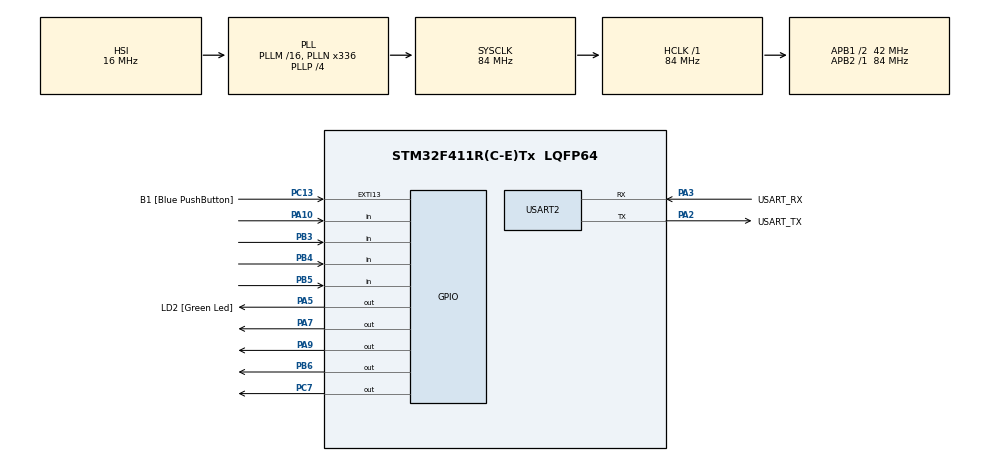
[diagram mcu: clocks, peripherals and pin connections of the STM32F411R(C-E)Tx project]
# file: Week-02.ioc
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Mcu.Family=STM32F4
Mcu.Name=STM32F411R(C-E)Tx
Mcu.Package=LQFP64
NVIC.PriorityGroup=NVIC_PRIORITYGROUP_0
PA10.GPIO_PuPd=GPIO_PULLUP
PA10.Signal=GPIO_Input
PA13.GPIO_Label=TMS
PA13.Mode=Serial_Wire
PA13.Signal=SYS_JTMS-SWDIO
PA14.GPIO_Label=TCK
PA14.Mode=Serial_Wire
PA14.Signal=SYS_JTCK-SWCLK
PA2.GPIO_Label=USART_TX
PA2.Mode=Asynchronous
PA2.Signal=USART2_TX
PA3.GPIO_Label=USART_RX
PA3.Mode=Asynchronous
PA3.Signal=USART2_RX
PA5.GPIO_Label=LD2 [Green Led]
PA5.Signal=GPIO_Output
PA7.GPIO_ModeDefaultOutputPP=GPIO_MODE_OUTPUT_OD
PA7.PinState=GPIO_PIN_SET
PA7.Signal=GPIO_Output
PA9.GPIO_ModeDefaultOutputPP=GPIO_MODE_OUTPUT_OD
PA9.PinState=GPIO_PIN_SET
PA9.Signal=GPIO_Output
PB3.GPIO_PuPd=GPIO_PULLUP
PB3.Signal=GPIO_Input
PB4.GPIO_PuPd=GPIO_PULLUP
PB4.Signal=GPIO_Input
PB5.GPIO_PuPd=GPIO_PULLUP
PB5.Signal=GPIO_Input
PB6.GPIO_ModeDefaultOutputPP=GPIO_MODE_OUTPUT_OD
PB6.PinState=GPIO_PIN_SET
PB6.Signal=GPIO_Output
PC13-ANTI_TAMP.GPIO_Label=B1 [Blue PushButton]
PC13-ANTI_TAMP.GPIO_ModeDefaultEXTI=GPIO_MODE_IT_FALLING
PC13-ANTI_TAMP.Signal=GPXTI13
PC14-OSC32_IN.Mode=LSE-External-Oscillator
PC14-OSC32_IN.Signal=RCC_OSC32_IN
PC15-OSC32_OUT.Mode=LSE-External-Oscillator
PC15-OSC32_OUT.Signal=RCC_OSC32_OUT
PC7.GPIO_ModeDefaultOutputPP=GPIO_MODE_OUTPUT_OD
PC7.PinState=GPIO_PIN_SET
PC7.Signal=GPIO_Output
PH0\ -\ OSC_IN.Mode=HSE-External-Clock-Source
PH0\ -\ OSC_IN.Signal=RCC_OSC_IN
PH1\ -\ OSC_OUT.Mode=HSE-External-Clock-Source
PH1\ -\ OSC_OUT.Signal=RCC_OSC_OUT
ProjectManager.HeapSize=0x200
ProjectManager.StackSize=0x400
ProjectManager.TargetToolchain=STM32CubeIDE
RCC.48MHZClocksFreq_Value=84000000
RCC.AHBFreq_Value=84000000
RCC.APB1CLKDivider=RCC_HCLK_DIV2
RCC.APB1Freq_Value=42000000
RCC.APB1TimFreq_Value=84000000
RCC.APB2Freq_Value=84000000
RCC.APB2TimFreq_Value=84000000
RCC.CortexFreq_Value=84000000
RCC.FLatency-AdvancedSettings=FLASH_LATENCY_2
RCC.HCLKFreq_Value=84000000
RCC.HSE_VALUE=8000000
RCC.HSI_VALUE=16000000
RCC.PLLN=336
RCC.PLLP=RCC_PLLP_DIV4
RCC.SYSCLKFreq_VALUE=84000000
RCC.SYSCLKSource=RCC_SYSCLKSOURCE_PLLCLK
RCC.VCOOutputFreq_Value=336000000
USART2.VirtualMode=VM_ASYNC
board=NUCLEO-F411RE

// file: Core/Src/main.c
 /* USER CODE BEGIN Header */
/**
  ******************************************************************************
  * @file           : main.c
  * @brief          : Main program body
  ******************************************************************************
  * @attention
  *
  * <h2><center>&copy; Copyright (c) 2021 STMicroelectronics.
  * All rights reserved.</center></h2>
  *
  * This software component is licensed by ST under BSD 3-Clause license,
  * the "License"; You may not use this file except in compliance with the
  * License. You may obtain a copy of the License at:
  *                        opensource.org/licenses/BSD-3-Clause
  *
  ******************************************************************************
  */
/* USER CODE END Header */
#include "main.h"

UART_HandleTypeDef huart2;

/* USER CODE BEGIN PV */
uint16_t ButtonMstate = 0;//-------------++++++++++++
uint16_t ButtonMstatePast = 0;
uint16_t ButtonMstateSeen = 0;
uint16_t PassWord[11] = {10,10,10,10,10,10,10,10,10,10,10};
uint16_t MyPassWord[11] = {6,2,3,4,0,5,0,0,0,0,6};
uint32_t Timestamp = 0;
GPIO_TypeDef *ButtomMPort[8] = {GPIOA,GPIOB,GPIOB,GPIOB,GPIOA,GPIOC,GPIOB,GPIOA};
uint16_t ButtomM[8] = {GPIO_PIN_10,GPIO_PIN_3,GPIO_PIN_5,GPIO_PIN_4,GPIO_PIN_9,GPIO_PIN_7,GPIO_PIN_6,GPIO_PIN_7};
uint8_t ButtomLine = 0; //r
uint8_t f = 0;
uint8_t t = 0;
uint8_t p = 0;
int test=0;

/* USER CODE END PV */

void SystemClock_Config(void);
static void MX_GPIO_Init(void);
static void MX_USART2_UART_Init(void);
/* USER CODE BEGIN PFP */
void buttomUpdata(void);//---------++++++++++
void check(void);

/* USER CODE END PFP */

int main(void)
{
  /* USER CODE BEGIN 1 */
	if(f==0){
		f=1;
		HAL_GPIO_WritePin(ButtomMPort[4], ButtomM[4], GPIO_PIN_RESET);
	}

  /* USER CODE END 1 */

  /* MCU Configuration--------------------------------------------------------*/

  /* Reset of all peripherals, Initializes the Flash interface and the Systick. */
  HAL_Init();

  /* Configure the system clock */
  SystemClock_Config();

  /* Initialize all configured peripherals */
  MX_GPIO_Init();
  MX_USART2_UART_Init();

  /* Infinite loop */
  /* USER CODE BEGIN WHILE */
  while (1)
  {
	buttomUpdata();
	if(ButtonMstateSeen == 0b0000000000000001){//0
		PassWord[p] = 0; p++;
	}
	else if(ButtonMstateSeen == 0b0000000000001000){//ok
		check();
		for(int o = 0;o<12;o++) PassWord[o]=0; p=0;
	}
	else if(ButtonMstateSeen == 0b0000000000010000){//1
		PassWord[p] = 1; p++;
		}
	else if(ButtonMstateSeen == 0b0000000000100000){//2
		PassWord[p] = 2; p++;
		}
	else if(ButtonMstateSeen == 0b0000000001000000){//3
		PassWord[p] = 3; p++;
		}
	else if(ButtonMstateSeen == 0b0000000100000000){//4
		PassWord[p] = 4; p++;
		}
	else if(ButtonMstateSeen == 0b0000001000000000){//5
		PassWord[p] = 5; p++;
		}
	else if(ButtonMstateSeen == 0b0000010000000000){//6
		PassWord[p] = 6; p++;
		}
	else if(ButtonMstateSeen == 0b0001000000000000){//7
		PassWord[p] = 7; p++;
		}
	else if(ButtonMstateSeen == 0b0010000000000000){//8
		PassWord[p] = 8; p++;
		}
	else if(ButtonMstateSeen == 0b0100000000000000){//9
		PassWord[p] = 9; p++;
		}
	else if(ButtonMstateSeen == 0b1000000000000000){//clear
		for(int o = 0;o<12;o++) PassWord[o]=0; p=0;test = 0; HAL_GPIO_WritePin(LD2_GPIO_Port, LD2_Pin, RESET);
		}
	ButtonMstateSeen = 0;

    /* USER CODE END WHILE */

  }
}

void SystemClock_Config(void)
{
  RCC_OscInitTypeDef RCC_OscInitStruct = {0};
  RCC_ClkInitTypeDef RCC_ClkInitStruct = {0};

  /** Configure the main internal regulator output voltage
  */
  __HAL_RCC_PWR_CLK_ENABLE();
  __HAL_PWR_VOLTAGESCALING_CONFIG(PWR_REGULATOR_VOLTAGE_SCALE1);
  /** Initializes the RCC Oscillators according to the specified parameters
  * in the RCC_OscInitTypeDef structure.
  */
  RCC_OscInitStruct.OscillatorType = RCC_OSCILLATORTYPE_HSI;
  RCC_OscInitStruct.HSIState = RCC_HSI_ON;
  RCC_OscInitStruct.HSICalibrationValue = RCC_HSICALIBRATION_DEFAULT;
  RCC_OscInitStruct.PLL.PLLState = RCC_PLL_ON;
  RCC_OscInitStruct.PLL.PLLSource = RCC_PLLSOURCE_HSI;
  RCC_OscInitStruct.PLL.PLLM = 16;
  RCC_OscInitStruct.PLL.PLLN = 336;
  RCC_OscInitStruct.PLL.PLLP = RCC_PLLP_DIV4;
  RCC_OscInitStruct.PLL.PLLQ = 4;
  if (HAL_RCC_OscConfig(&RCC_OscInitStruct) != HAL_OK)
  {
    Error_Handler();
  }
  /** Initializes the CPU, AHB and APB buses clocks
  */
  RCC_ClkInitStruct.ClockType = RCC_CLOCKTYPE_HCLK|RCC_CLOCKTYPE_SYSCLK
                              |RCC_CLOCKTYPE_PCLK1|RCC_CLOCKTYPE_PCLK2;
  RCC_ClkInitStruct.SYSCLKSource = RCC_SYSCLKSOURCE_PLLCLK;
  RCC_ClkInitStruct.AHBCLKDivider = RCC_SYSCLK_DIV1;
  RCC_ClkInitStruct.APB1CLKDivider = RCC_HCLK_DIV2;
  RCC_ClkInitStruct.APB2CLKDivider = RCC_HCLK_DIV1;

  if (HAL_RCC_ClockConfig(&RCC_ClkInitStruct, FLASH_LATENCY_2) != HAL_OK)
  {
    Error_Handler();
  }
}

static void MX_USART2_UART_Init(void)
{

  huart2.Instance = USART2;
  huart2.Init.BaudRate = 115200;
  huart2.Init.WordLength = UART_WORDLENGTH_8B;
  huart2.Init.StopBits = UART_STOPBITS_1;
  huart2.Init.Parity = UART_PARITY_NONE;
  huart2.Init.Mode = UART_MODE_TX_RX;
  huart2.Init.HwFlowCtl = UART_HWCONTROL_NONE;
  huart2.Init.OverSampling = UART_OVERSAMPLING_16;
  if (HAL_UART_Init(&huart2) != HAL_OK)
  {
    Error_Handler();
  }

}

static void MX_GPIO_Init(void)
{
  GPIO_InitTypeDef GPIO_InitStruct = {0};

  /* GPIO Ports Clock Enable */
  __HAL_RCC_GPIOC_CLK_ENABLE();
  __HAL_RCC_GPIOH_CLK_ENABLE();
  __HAL_RCC_GPIOA_CLK_ENABLE();
  __HAL_RCC_GPIOB_CLK_ENABLE();

  /*Configure GPIO pin Output Level */
  HAL_GPIO_WritePin(LD2_GPIO_Port, LD2_Pin, GPIO_PIN_RESET);

  /*Configure GPIO pin Output Level */
  HAL_GPIO_WritePin(GPIOA, GPIO_PIN_7|GPIO_PIN_9, GPIO_PIN_SET);

  /*Configure GPIO pin Output Level */
  HAL_GPIO_WritePin(GPIOC, GPIO_PIN_7, GPIO_PIN_SET);

  /*Configure GPIO pin Output Level */
  HAL_GPIO_WritePin(GPIOB, GPIO_PIN_6, GPIO_PIN_SET);

  /*Configure GPIO pin : B1_Pin */
  GPIO_InitStruct.Pin = B1_Pin;
  GPIO_InitStruct.Mode = GPIO_MODE_IT_FALLING;
  GPIO_InitStruct.Pull = GPIO_NOPULL;
  HAL_GPIO_Init(B1_GPIO_Port, &GPIO_InitStruct);

  /*Configure GPIO pin : LD2_Pin */
  GPIO_InitStruct.Pin = LD2_Pin;
  GPIO_InitStruct.Mode = GPIO_MODE_OUTPUT_PP;
  GPIO_InitStruct.Pull = GPIO_NOPULL;
  GPIO_InitStruct.Speed = GPIO_SPEED_FREQ_LOW;
  HAL_GPIO_Init(LD2_GPIO_Port, &GPIO_InitStruct);

  /*Configure GPIO pins : PA7 PA9 */
  GPIO_InitStruct.Pin = GPIO_PIN_7|GPIO_PIN_9;
  GPIO_InitStruct.Mode = GPIO_MODE_OUTPUT_OD;
  GPIO_InitStruct.Pull = GPIO_NOPULL;
  GPIO_InitStruct.Speed = GPIO_SPEED_FREQ_LOW;
  HAL_GPIO_Init(GPIOA, &GPIO_InitStruct);

  /*Configure GPIO pin : PC7 */
  GPIO_InitStruct.Pin = GPIO_PIN_7;
  GPIO_InitStruct.Mode = GPIO_MODE_OUTPUT_OD;
  GPIO_InitStruct.Pull = GPIO_NOPULL;
  GPIO_InitStruct.Speed = GPIO_SPEED_FREQ_LOW;
  HAL_GPIO_Init(GPIOC, &GPIO_InitStruct);

  /*Configure GPIO pin : PA10 */
  GPIO_InitStruct.Pin = GPIO_PIN_10;
  GPIO_InitStruct.Mode = GPIO_MODE_INPUT;
  GPIO_InitStruct.Pull = GPIO_PULLUP;
  HAL_GPIO_Init(GPIOA, &GPIO_InitStruct);

  /*Configure GPIO pins : PB3 PB4 PB5 */
  GPIO_InitStruct.Pin = GPIO_PIN_3|GPIO_PIN_4|GPIO_PIN_5;
  GPIO_InitStruct.Mode = GPIO_MODE_INPUT;
  GPIO_InitStruct.Pull = GPIO_PULLUP;
  HAL_GPIO_Init(GPIOB, &GPIO_InitStruct);

  /*Configure GPIO pin : PB6 */
  GPIO_InitStruct.Pin = GPIO_PIN_6;
  GPIO_InitStruct.Mode = GPIO_MODE_OUTPUT_OD;
  GPIO_InitStruct.Pull = GPIO_NOPULL;
  GPIO_InitStruct.Speed = GPIO_SPEED_FREQ_LOW;
  HAL_GPIO_Init(GPIOB, &GPIO_InitStruct);

}

/* USER CODE BEGIN 4 */
// 0-3 INPUT 4-7 OUTPUT /// ++++++++++++++++++++++++++++++++++++++++++++++++++++++++

void buttomUpdata()///----+++++++++++++++++
{

	if(HAL_GetTick() - Timestamp >= 50){
		Timestamp = HAL_GetTick();
		int i;
		t++;
		for(i=0; i<4; i++){
			GPIO_PinState PinState = HAL_GPIO_ReadPin(ButtomMPort[i], ButtomM[i]);
			if(PinState == GPIO_PIN_RESET){
				ButtonMstate |= (uint16_t)1 << (i + ButtomLine * 4);
			}
			if(t==16) {
				if(ButtonMstatePast != 0 && ButtonMstate == 0){
					ButtonMstateSeen = ButtonMstatePast;
				}
				ButtonMstatePast = ButtonMstate;
				ButtonMstate &= ~(uint16_t)1 << (16);
				t=0;
			}
		}
		uint8_t ButtomLineNow = ButtomLine + 4;
		HAL_GPIO_WritePin(ButtomMPort[ButtomLineNow], ButtomM[ButtomLineNow], GPIO_PIN_SET);

		ButtomLine = ((ButtomLine+1) % 4);
		uint8_t ButtomLineNext = ButtomLine + 4;
		HAL_GPIO_WritePin(ButtomMPort[ButtomLineNext], ButtomM[ButtomLineNext], GPIO_PIN_RESET);
	}
}

void check()
{
	for(int y=0;y<11;y++){
		if(PassWord[y] == MyPassWord[y]){
			test++;
		}
	}
	if(test == 11){
		HAL_GPIO_TogglePin(LD2_GPIO_Port, LD2_Pin);
		test = 999;
	}
	else {
		test =0;
	}
}
/* USER CODE END 4 */

void Error_Handler(void)
{
  __disable_irq();
  while (1)
  {
  }
}

/************************ (C) COPYRIGHT STMicroelectronics *****END OF FILE****/
